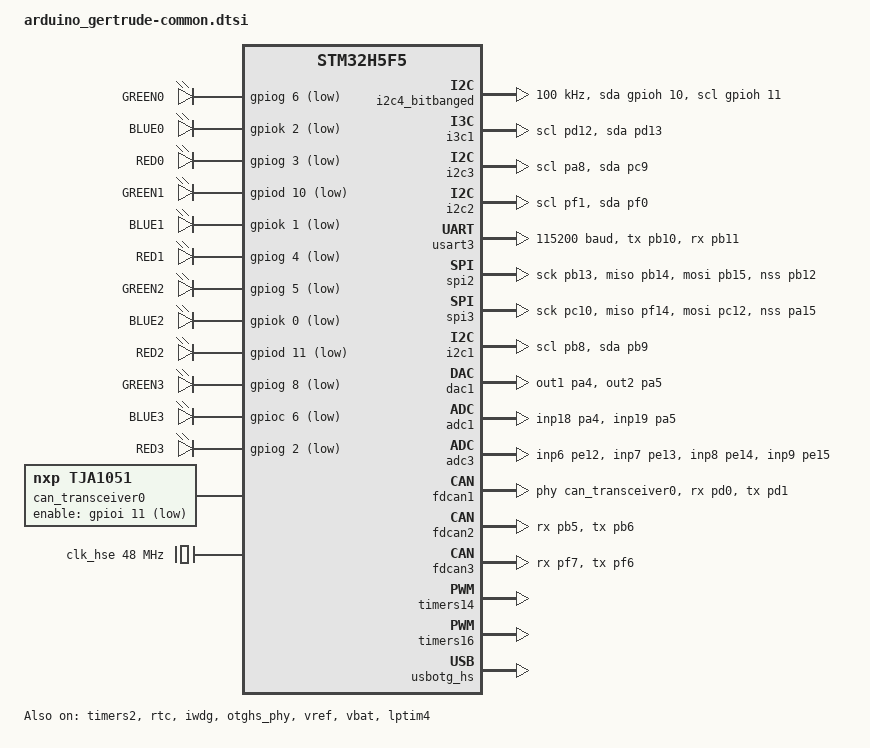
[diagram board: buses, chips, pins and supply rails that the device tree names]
/*
 * Copyright (c) 2021 Linaro Limited
 * Copyright (c) 2023 Thomas Stranger
 *
 * SPDX-License-Identifier: Apache-2.0
 */

#include <st/h5/stm32h5f5.dtsi>
#include <st/h5/stm32h5f5zjtx-pinctrl.dtsi>
#include <zephyr/dt-bindings/sensor/qdec_stm32.h>
#include <zephyr/dt-bindings/led/led.h>

/ {
	leds: leds {
		compatible = "gpio-leds";

		green_led_0: led_1 {
			gpios = <&gpiog 6 GPIO_ACTIVE_LOW>;
			label = "GREEN0";
		};

		blue_led_0: led_2 {
			gpios = <&gpiok 2 GPIO_ACTIVE_LOW>;
			label = "BLUE0";
		};

		red_led_0: led_3 {
			gpios = <&gpiog 3 GPIO_ACTIVE_LOW>;
			label = "RED0";
		};

		green_led_1: led_4 {
			gpios = <&gpiod 10 GPIO_ACTIVE_LOW>;
			label = "GREEN1";
		};

		blue_led_1: led_5 {
			gpios = <&gpiok 1 GPIO_ACTIVE_LOW>;
			label = "BLUE1";
		};

		red_led_1: led_6 {
			gpios = <&gpiog 4 GPIO_ACTIVE_LOW>;
			label = "RED1";
		};

		green_led_2: led_7 {
			gpios = <&gpiog 5 GPIO_ACTIVE_LOW>;
			label = "GREEN2";
		};

		blue_led_2: led_8 {
			gpios = <&gpiok 0 GPIO_ACTIVE_LOW>;
			label = "BLUE2";
		};

		red_led_2: led_9 {
			gpios = <&gpiod 11 GPIO_ACTIVE_LOW>;
			label = "RED2";
		};

		green_led_3: led_10 {
			gpios = <&gpiog 8 GPIO_ACTIVE_LOW>;
			label = "GREEN3";
		};

		blue_led_3: led_11 {
			gpios = <&gpioc 6 GPIO_ACTIVE_LOW>;
			label = "BLUE3";
		};

		red_led_3: led_12 {
			gpios = <&gpiog 2 GPIO_ACTIVE_LOW>;
			label = "RED3";
		};
	};

	rgb_led_0: led0 {
			compatible = "leds-group-multicolor";

			leds = <&red_led_0>, <&green_led_0>, <&blue_led_0>;
			color-mapping = <LED_COLOR_ID_RED>,
							<LED_COLOR_ID_GREEN>,
							<LED_COLOR_ID_BLUE>;
	};

	rgb_led_1: led1 {
			compatible = "leds-group-multicolor";

			leds = <&red_led_1>, <&green_led_1>, <&blue_led_1>;
			color-mapping = <LED_COLOR_ID_RED>,
							<LED_COLOR_ID_GREEN>,
							<LED_COLOR_ID_BLUE>;
	};

	rgb_led_2: led2 {
			compatible = "leds-group-multicolor";

			leds = <&red_led_1>, <&green_led_1>, <&blue_led_1>;
			color-mapping = <LED_COLOR_ID_RED>,
							<LED_COLOR_ID_GREEN>,
							<LED_COLOR_ID_BLUE>;
	};

	rgb_led_3: led3 {
			compatible = "leds-group-multicolor";

			leds = <&red_led_3>, <&green_led_3>, <&blue_led_3>;
			color-mapping = <LED_COLOR_ID_RED>,
							<LED_COLOR_ID_GREEN>,
							<LED_COLOR_ID_BLUE>;
	};

/*
	TODO: led matrix driver
*/


/*
	TODO: removeme when i2c4 is fixed in HW
*/
	i2c4_bitbanged: gpio_i2c {
		compatible = "gpio-i2c";
		status = "okay";
		clock-frequency = <I2C_BITRATE_STANDARD>;
		sda-gpios = <&gpioh 10 (GPIO_OPEN_DRAIN | GPIO_PULL_UP)>;
		scl-gpios = <&gpioh 11 (GPIO_OPEN_DRAIN | GPIO_PULL_UP)>;
		#address-cells = <1>;
		#size-cells = <0>;
	};

	can_transceiver0: can-phy0 {
		compatible = "nxp,tja1051", "can-transceiver-gpio";
		enable-gpios = <&gpioi 11 GPIO_ACTIVE_LOW>;
		max-bitrate = <5000000>;
		#phy-cells = <0>;
	};
};

&timers2 {
	st,prescaler = <239>;
	status = "okay";
	counter0: counter {
		status = "okay";
	};
};

&clk_hse {
	clock-frequency = <DT_FREQ_M(48)>;
	status = "okay";
};

&clk_hsi48 {
	status = "okay";
};

&clk_lse {
	status = "okay";
};

&pll {
	div-m = <4>;
	mul-n = <40>;
	div-p = <2>;
	div-q = <2>;
	div-r = <2>;
	clocks = <&clk_hse>;
	status = "okay";
};

&pll2 {
	div-m = <4>;
	mul-n = <20>;
	div-p = <2>;
	div-q = <2>;
	div-r = <2>;
	clocks = <&clk_hse>;
	status = "okay";
};

&pll3 {
	div-m = <3>;
	mul-n = <8>;
	div-p = <2>;
	div-q = <8>;
	div-r = <2>;
	clocks = <&clk_hse>;
	status = "okay";
};

&i3c1 {
	pinctrl-0 = <&i3c1_scl_pd12 &i3c1_sda_pd13>;
	pinctrl-names = "default";
	i3c-scl-hz = <12500000>;
	status = "okay";
};

&rcc {
	clocks = <&pll>;
	clock-frequency = <DT_FREQ_M(240)>;
	ahb-prescaler = <1>;
	apb1-prescaler = <2>;
	apb2-prescaler = <1>;
	apb3-prescaler = <2>;
};

/* QWIIK */
&i2c3 {
	pinctrl-0 = <&i2c3_scl_pa8 &i2c3_sda_pc9>;
	pinctrl-names = "default";
	status = "okay";
};

/* JMISC */
&i2c2 {
	pinctrl-0 = <&i2c2_scl_pf1 &i2c2_sda_pf0>;
	pinctrl-names = "default";
	status = "okay";
};

/* JDIGITAL */

/*
//// BUG on current HW - replaced by bitbanged i2c
&i2c4 {
	pinctrl-0 = <&i2c4_scl_ph11 &i2c4_sda_ph12>;
	pinctrl-names = "default";
	status = "okay";
};
*/

&pinctrl {
	/omit-if-no-ref/ usart3_rx_pb11: usart3_rx_pb11 {
		pinmux = <STM32_PINMUX('B', 11, AF7)>;
		bias-pull-up;
	};
	/omit-if-no-ref/ spi3_miso_pf14: spi3_miso_pf14 {
		pinmux = <STM32_PINMUX('F', 14, AF6)>;
		bias-pull-down;
	};
};

&usart3 {
	pinctrl-0 = <&usart3_tx_pb10 &usart3_rx_pb11>;
	pinctrl-names = "default";
	current-speed = <115200>;
	status = "okay";
};

&spi2 {
	pinctrl-0 = <&spi2_sck_pb13 &spi2_miso_pb14 &spi2_mosi_pb15 &spi2_nss_pb12>;
	pinctrl-names = "default";
	/*cs-gpios = <&gpiob 12 (GPIO_ACTIVE_LOW | GPIO_PULL_UP)>;*/
	status = "okay";
};

&spi3 {
	pinctrl-0 = <&spi3_sck_pc10 &spi3_miso_pf14 &spi3_mosi_pc12 &spi3_nss_pa15>;
	pinctrl-names = "default";
	/*cs-gpios = <&gpioa 15 (GPIO_ACTIVE_LOW | GPIO_PULL_UP)>;*/
	status = "okay";
};

/* INTERNAL */
&i2c1 {
	pinctrl-0 = <&i2c1_scl_pb8 &i2c1_sda_pb9>;
	pinctrl-names = "default";
	status = "okay";
};

&rtc {
	clocks = <&rcc STM32_CLOCK(APB3, 21)>,
		 <&rcc STM32_SRC_LSE RTC_SEL(1)>;
	status = "okay";
};

&iwdg {
	status = "okay";
};

&gpdma1 {
	status = "okay";
};

&gpdma2 {
	status = "okay";
};

&dac1 {
	pinctrl-0 = <&dac1_out1_pa4 &dac1_out2_pa5>;
	pinctrl-names = "default";
	status = "okay";
};

&adc1 {
	clocks = <&rcc STM32_CLOCK(AHB2, 10)>,
		 <&rcc STM32_SRC_HCLK ADCDAC_SEL(0)>;
	clock-names = "adcx", "adc_ker";
	pinctrl-0 = <&adc1_inp18_pa4 &adc1_inp19_pa5>;
	pinctrl-names = "default";
	st,adc-clock-source = "ASYNC";
	st,adc-prescaler = <6>;
	status = "okay";
};

&adc3 {
	clocks = <&rcc STM32_CLOCK(AHB2, 24)>,
		 <&rcc STM32_SRC_HCLK ADCDAC_SEL(0)>;
	clock-names = "adcx", "adc_ker";
	pinctrl-0 = <&adc3_inp6_pe12 &adc3_inp7_pe13 &adc3_inp8_pe14 &adc3_inp9_pe15>;
	pinctrl-names = "default";
	st,adc-clock-source = "ASYNC";
	st,adc-prescaler = <6>;
	status = "okay";
};

&fdcan1 {
	pinctrl-0 = <&fdcan1_rx_pd0 &fdcan1_tx_pd1>;
	// pinctrl-1 = <&fdcan1_rx_pi9 &fdcan1_tx_pi10>; /* alt mux */
	pinctrl-names = "default";
	clk-divider = <1>;
	phys = <&can_transceiver0>;
	status = "okay";
};

&fdcan2 {
	pinctrl-0 = <&fdcan2_rx_pb5 &fdcan2_tx_pb6>;
	//pinctrl-1 = <&fdcan2_rx_pd9 &fdcan2_tx_pa10>; /* alt mux */
	pinctrl-names = "default";
	clk-divider = <1>;
	status = "okay";
};

&fdcan3 {
	pinctrl-0 = <&fdcan3_rx_pf7 &fdcan3_tx_pf6>;
	pinctrl-names = "default";
	clk-divider = <1>;
	status = "okay";
};

/* FAN INPUT*/
&timers14 {
	st,prescaler = <254>;
	status = "okay";

	pwm14: pwm {
		status = "okay";
		pinctrl-0 = <&tim14_ch1_pa7>;
		pinctrl-names = "default";
		four-channel-capture-support;
	};
};

/* FAN OUTPUT */
&timers16 {
	st,prescaler = <500>;
	status = "okay";

	pwm16: pwm {
		status = "okay";
		pinctrl-0 = <&tim16_ch1_pg15>;
		pinctrl-names = "default";
	};
};

&flash0 {
	partitions {
		compatible = "fixed-partitions";
		#address-cells = <1>;
		#size-cells = <1>;

		boot_partition: partition@0 {
			label = "mcuboot";
			reg = <0x00000000 DT_SIZE_K(64)>;
		};

		slot0_partition: partition@10000 {
			label = "image-0";
			reg = <0x00010000 DT_SIZE_K(960)>;
		};

		slot1_partition: partition@100000 {
			label = "image-1";
			reg = <0x00100000 DT_SIZE_K(960)>;
		};

		storage_partition: partition@1f0000 {
			label = "storage";
			reg = <0x001f0000 DT_SIZE_K(64)>;
		};
	};
};

zephyr_udc0: &usbotg_hs {
	pinctrl-0 = <>;
	pinctrl-names = "default";
	status = "okay";
};

&otghs_phy {
	clock-reference = "SYSCFG_OTG_HS_PHY_CLK_16MHz";
	status = "okay";
};

&vref {
	status = "okay";
};

&vbat {
	status = "okay";
};

&clk_lsi {
	status = "okay";
};

stm32_lp_tick_source: &lptim4 {
	clocks = <&rcc STM32_CLOCK(APB3, 13)>,
		 <&rcc STM32_SRC_LSI LPTIM4_SEL(4)>;
	status = "okay";
};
